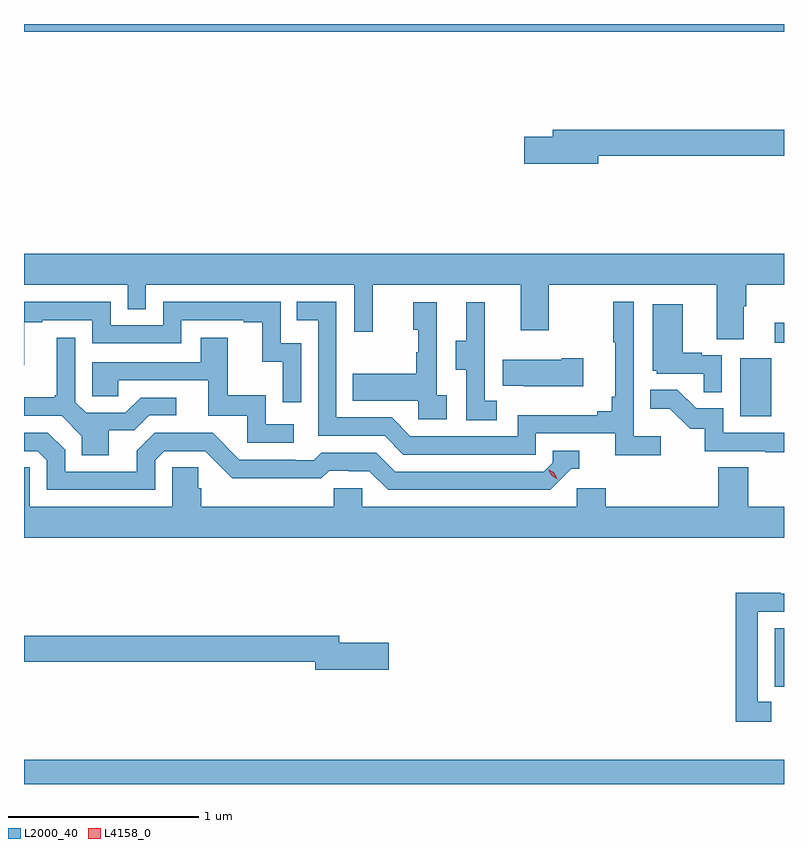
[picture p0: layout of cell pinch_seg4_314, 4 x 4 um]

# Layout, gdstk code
import gdstk
lib = gdstk.Library(unit=1e-6, precision=1e-09)
def R(c, l, rs):  # rectangles x0, y0, x1, y1
    for r in rs: c.add(gdstk.rectangle(r[:2], r[2:], *l))
def P(c, l, *ps):  # polygons
    for p in ps: c.add(gdstk.Polygon(p, *l))
L2000_40 = (2000, 40)
L4158_0 = (4158, 0)

pinch_seg4_314 = lib.new_cell('pinch_seg4_314')
R(pinch_seg4_314, L2000_40, [(901.518,800.853,905.518,800.98), (905.468,801.366,905.518,801.673), (905.288,802.788,905.452,803.095), (905.469,803.175,905.518,803.281), (901.518,804.812,905.518,804.853)])
P(pinch_seg4_314, L2000_40, [(904.54,804.16),(905.518,804.16),(905.518,804.296),(904.301,804.296),(904.301,804.26),(904.152,804.26),(904.152,804.118),(904.54,804.118)],
  [(905.305,803.368),(905.318,803.368),(905.318,803.48),(905.518,803.48),(905.518,803.644),(901.518,803.644),(901.518,803.48),(902.064,803.48),(902.064,803.353),(902.16,803.353),(902.16,803.48),(903.255,803.48),(903.255,803.232),(903.353,803.232),(903.353,803.48),(904.133,803.48),(904.133,803.241),(904.281,803.241),(904.281,803.48),(905.165,803.48),(905.165,803.194),(905.305,803.194)],
  [(904.87,802.684),(904.728,802.684),(904.728,803.392),(904.62,803.392),(904.62,803.179),(904.631,803.179),(904.631,802.891),(904.612,802.891),(904.612,802.814),(904.535,802.814),(904.535,802.795),(904.116,802.795),(904.116,802.683),(903.552,802.683),(903.453,802.782),(903.162,802.782),(903.162,803.391),(902.953,803.391),(902.953,803.295),(903.066,803.295),(903.066,802.686),(903.416,802.686),(903.515,802.587),(904.212,802.587),(904.212,802.698),(904.631,802.698),(904.631,802.582),(904.87,802.582)],
  [(902.976,803.172),(902.868,803.172),(902.868,803.391),(902.25,803.391),(902.25,803.268),(901.974,803.268),(901.974,803.391),(901.518,803.391),(901.518,803.057),(901.519,803.057),(901.519,803.283),(901.615,803.283),(901.615,803.295),(901.878,803.295),(901.878,803.172),(902.346,803.172),(902.346,803.295),(902.675,803.295),(902.675,803.283),(902.771,803.283),(902.771,803.075),(902.88,803.075),(902.88,802.863),(902.976,802.863)],
  [(903.742,802.898),(903.69,802.898),(903.69,803.389),(903.566,803.389),(903.566,803.244),(903.592,803.244),(903.592,803.126),(903.582,803.126),(903.582,803.011),(903.247,803.011),(903.247,802.871),(903.594,802.871),(903.594,802.773),(903.742,802.773)],
  [(904.006,802.871),(903.942,802.871),(903.942,803.175),(903.944,803.175),(903.944,803.389),(903.845,803.389),(903.845,803.187),(903.791,803.187),(903.791,803.032),(903.846,803.032),(903.846,802.768),(904.006,802.768)],
  [(905.19,803.109),(905.084,803.109),(905.084,803.122),(904.984,803.122),(904.984,803.377),(904.826,803.377),(904.826,803.028),(904.848,803.028),(904.848,803.013),(905.095,803.013),(905.095,802.915),(905.19,802.915)],
  [(901.963,802.714),(902.098,802.714),(902.178,802.794),(902.32,802.794),(902.32,802.887),(902.132,802.887),(902.051,802.806),(901.845,802.806),(901.788,802.863),(901.788,803.203),(901.691,803.203),(901.691,802.9),(901.68,802.9),(901.68,802.888),(901.518,802.888),(901.518,802.791),(901.716,802.791),(901.823,802.684),(901.823,802.582),(901.963,802.582)],
  [(902.938,802.746),(902.79,802.746),(902.79,802.9),(902.591,802.9),(902.591,803.203),(902.447,803.203),(902.447,803.073),(901.878,803.073),(901.878,802.893),(902.015,802.893),(902.015,802.977),(902.489,802.977),(902.489,802.791),(902.694,802.791),(902.694,802.65),(902.938,802.65)],
  [(904.462,803.094),(904.349,803.094),(904.349,803.086),(904.039,803.086),(904.039,802.949),(904.147,802.949),(904.147,802.946),(904.462,802.946)],
  [(905.518,802.701),(905.199,802.701),(905.199,802.83),(905.055,802.83),(904.957,802.928),(904.813,802.928),(904.813,802.829),(904.917,802.829),(905.024,802.722),(905.101,802.722),(905.101,802.605),(905.419,802.605),(905.419,802.6),(905.518,802.6)],
  [(902.208,802.557),(902.256,802.605),(902.472,802.605),(902.614,802.463),(902.85,802.463),(902.85,802.461),(903.083,802.461),(903.125,802.503),(903.228,802.503),(903.228,802.5),(903.335,802.5),(903.434,802.401),(904.287,802.401),(904.398,802.512),(904.441,802.512),(904.441,802.608),(904.302,802.608),(904.302,802.545),(904.254,802.497),(903.471,802.497),(903.372,802.596),(903.083,802.596),(903.044,802.557),(902.945,802.557),(902.945,802.56),(902.652,802.56),(902.511,802.701),(902.205,802.701),(902.111,802.607),(902.111,802.497),(901.734,802.497),(901.734,802.611),(901.644,802.701),(901.518,802.701),(901.518,802.605),(901.59,802.605),(901.638,802.557),(901.638,802.401),(902.208,802.401)],
  [(905.518,802.312),(905.331,802.312),(905.331,802.52),(905.171,802.52),(905.171,802.312),(904.58,802.312),(904.58,802.41),(904.428,802.41),(904.428,802.312),(903.297,802.312),(903.297,802.41),(903.147,802.41),(903.147,802.312),(902.45,802.312),(902.45,802.41),(902.435,802.41),(902.435,802.52),(902.298,802.52),(902.298,802.312),(901.548,802.312),(901.548,802.52),(901.518,802.52),(901.518,802.148),(905.518,802.148)],
  [(905.452,801.285),(905.379,801.285),(905.379,801.759),(905.518,801.759),(905.518,801.855),(905.501,801.855),(905.501,801.86),(905.263,801.86),(905.263,801.18),(905.452,801.18)],
  [(903.439,801.596),(903.178,801.596),(903.178,801.632),(901.518,801.632),(901.518,801.496),(903.05,801.496),(903.05,801.454),(903.439,801.454)])
P(pinch_seg4_314, L4158_0, [(904.324,802.458),(904.293,802.477),(904.277,802.51),(904.277,802.51),(904.277,802.51),(904.308,802.49),(904.324,802.458),(904.324,802.458)])

lib.write_gds('pinch_seg4_314.gds')
